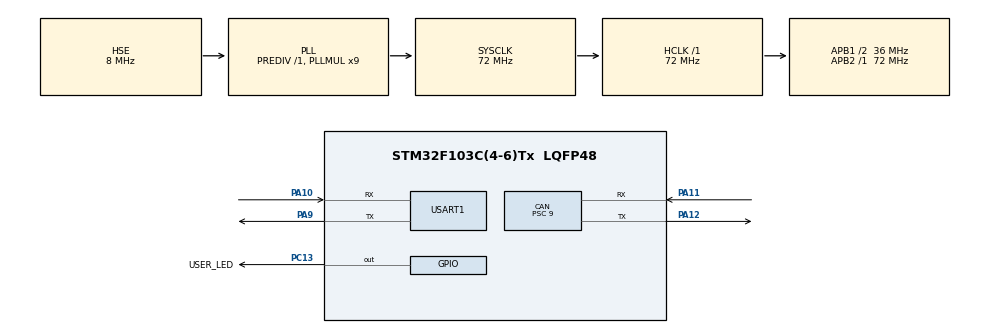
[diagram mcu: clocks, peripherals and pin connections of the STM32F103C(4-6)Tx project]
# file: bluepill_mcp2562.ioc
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CAN.BS1=CAN_BS1_3TQ
CAN.BS2=CAN_BS2_4TQ
CAN.CalculateBaudRate=500000
CAN.CalculateTimeBit=2000
CAN.CalculateTimeQuantum=250.0
CAN.Mode=CAN_MODE_NORMAL
CAN.NART=ENABLE
CAN.Prescaler=9
Mcu.Family=STM32F1
Mcu.Name=STM32F103C(4-6)Tx
Mcu.Package=LQFP48
NVIC.CAN1_RX1_IRQn=true\:0\:0\:false\:false\:true\:true\:true\:true
NVIC.PriorityGroup=NVIC_PRIORITYGROUP_4
PA10.Mode=Asynchronous
PA10.Signal=USART1_RX
PA11.GPIO_PuPd=GPIO_PULLUP
PA11.Mode=CAN_Activate
PA11.Signal=CAN_RX
PA12.Mode=CAN_Activate
PA12.Signal=CAN_TX
PA9.Mode=Asynchronous
PA9.Signal=USART1_TX
PC13-TAMPER-RTC.GPIO_Label=USER_LED
PC13-TAMPER-RTC.Signal=GPIO_Output
PD0-OSC_IN.Mode=HSE-External-Oscillator
PD0-OSC_IN.Signal=RCC_OSC_IN
PD1-OSC_OUT.Mode=HSE-External-Oscillator
PD1-OSC_OUT.Signal=RCC_OSC_OUT
ProjectManager.HeapSize=0x200
ProjectManager.StackSize=0x400
ProjectManager.TargetToolchain=Makefile
RCC.AHBFreq_Value=72000000
RCC.APB1CLKDivider=RCC_HCLK_DIV2
RCC.APB1Freq_Value=36000000
RCC.APB1TimFreq_Value=72000000
RCC.APB2Freq_Value=72000000
RCC.APB2TimFreq_Value=72000000
RCC.HCLKFreq_Value=72000000
RCC.PLLMUL=RCC_PLL_MUL9
RCC.PLLSourceVirtual=RCC_PLLSOURCE_HSE
RCC.SYSCLKFreq_VALUE=72000000
RCC.SYSCLKSource=RCC_SYSCLKSOURCE_PLLCLK
RCC.USBFreq_Value=72000000
USART1.VirtualMode=VM_ASYNC
VP_SYS_VS_ND.Mode=No_Debug
board=custom

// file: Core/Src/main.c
/* USER CODE BEGIN Header */
/**
  ******************************************************************************
  * @file           : main.c
  * @brief          : Main program body
  ******************************************************************************
  * @attention
  *
  * Copyright (c) 2024 STMicroelectronics.
  * All rights reserved.
  *
  * This software is licensed under terms that can be found in the LICENSE file
  * in the root directory of this software component.
  * If no LICENSE file comes with this software, it is provided AS-IS.
  *
  ******************************************************************************
  */
/* USER CODE END Header */
#include "main.h"

/* USER CODE BEGIN Includes */
#include <stdio.h>
/* USER CODE END Includes */

CAN_HandleTypeDef hcan;

UART_HandleTypeDef huart1;

/* USER CODE BEGIN PV */
CAN_RxHeaderTypeDef rxHeader; //CAN Bus Transmit Header
CAN_TxHeaderTypeDef txHeader; //CAN Bus Receive Header
uint8_t canRX[8] = {0,0,0,0,0,0,0,0};  //CAN Bus Receive Buffer
CAN_FilterTypeDef canfil; //CAN Bus Filter
uint32_t canMailbox; //CAN Bus Mail box variable

/* USER CODE END PV */

void SystemClock_Config(void);
static void MX_GPIO_Init(void);
static void MX_CAN_Init(void);
static void MX_USART1_UART_Init(void);
/* USER CODE BEGIN PFP */
#define PUTCHAR_PROTOTYPE int __io_putchar(int ch)
/* USER CODE END PFP */

/* USER CODE BEGIN 0 */

void send_uart_message(const char *message)
  {
  // Send the string over UART
  HAL_UART_Transmit(&huart1, (uint8_t*)message, strlen(message), HAL_MAX_DELAY);
  }

/* USER CODE END 0 */

int main(void)
{

  /* MCU Configuration--------------------------------------------------------*/

  /* Reset of all peripherals, Initializes the Flash interface and the Systick. */
  HAL_Init();

  /* Configure the system clock */
  SystemClock_Config();

  /* Initialize all configured peripherals */
  MX_GPIO_Init();
  MX_CAN_Init();
  MX_USART1_UART_Init();
  /* USER CODE BEGIN 2 */
  // defining CANBUS RX Filter
  canfil.FilterBank = 0;
  canfil.FilterMode = CAN_FILTERMODE_IDMASK;
  canfil.FilterFIFOAssignment = CAN_RX_FIFO0;
  canfil.FilterIdHigh = 0;
  canfil.FilterIdLow = 0;
  canfil.FilterMaskIdHigh = 0;
  canfil.FilterMaskIdLow = 0;
  canfil.FilterScale = CAN_FILTERSCALE_32BIT;
  canfil.FilterActivation = ENABLE;
  canfil.SlaveStartFilterBank = 14;

  // defining CANBUS tx header
  txHeader.DLC = 8; // Number of bytes to be transmitted max- 8
  txHeader.IDE = CAN_ID_STD;
  txHeader.RTR = CAN_RTR_DATA;
  txHeader.StdId = 0x020;
  txHeader.ExtId = 0x02;
  txHeader.TransmitGlobalTime = DISABLE;

  // init CAN
  HAL_CAN_ConfigFilter(&hcan,&canfil);
  HAL_CAN_Start(&hcan);
  HAL_CAN_ActivateNotification(&hcan,CAN_IT_RX_FIFO0_MSG_PENDING);

  /* USER CODE END 2 */

  /* Infinite loop */
  while (1)
  {

    /* USER CODE BEGIN 3 */
    // Edit csend[] to edit the values being sent
    // edit/store multiple txHeaders to handle multiple IDs (different IDs for different output data structures)
	  uint8_t csend[] = {0x01,0x02,0x03,0x04,0x05,0x06,0x07,0x08};
    if (HAL_CAN_AddTxMessage(&hcan,&txHeader,csend,&canMailbox) == HAL_ERROR)
    {
      printf("Write to CANBUS FAILED...\r\n");
    }
    else
    {
      printf("Wrote message to CANBUS...\r\n");
    }
    if(HAL_CAN_IsTxMessagePending(&hcan, &canMailbox) != 0){
      printf("Full mailbox\r\n");
    }
    // if (HAL_CAN_GetRxMessage(&hcan, CAN_RX_FIFO0, &rxHeader, canRX) == HAL_OK) {
    //   printf("received message\r");
    //   printf("Message length is %ld byte(s)\r\n", rxHeader.DLC);
    //   for (uint8_t i = 0; i < 8; i++) {
    //     printf("Byte %d: 0x%02X\r\n", i, canRX[i]);
    // }
    // }

    HAL_GPIO_TogglePin(USER_LED_GPIO_Port, USER_LED_Pin);
	  HAL_Delay(1000);
  }
  /* USER CODE END 3 */
}

void SystemClock_Config(void)
{
  RCC_OscInitTypeDef RCC_OscInitStruct = {0};
  RCC_ClkInitTypeDef RCC_ClkInitStruct = {0};

  /** Initializes the RCC Oscillators according to the specified parameters
  * in the RCC_OscInitTypeDef structure.
  */
  RCC_OscInitStruct.OscillatorType = RCC_OSCILLATORTYPE_HSE;
  RCC_OscInitStruct.HSEState = RCC_HSE_ON;
  RCC_OscInitStruct.HSEPredivValue = RCC_HSE_PREDIV_DIV1;
  RCC_OscInitStruct.HSIState = RCC_HSI_ON;
  RCC_OscInitStruct.PLL.PLLState = RCC_PLL_ON;
  RCC_OscInitStruct.PLL.PLLSource = RCC_PLLSOURCE_HSE;
  RCC_OscInitStruct.PLL.PLLMUL = RCC_PLL_MUL9;
  if (HAL_RCC_OscConfig(&RCC_OscInitStruct) != HAL_OK)
  {
    Error_Handler();
  }

  /** Initializes the CPU, AHB and APB buses clocks
  */
  RCC_ClkInitStruct.ClockType = RCC_CLOCKTYPE_HCLK|RCC_CLOCKTYPE_SYSCLK
                              |RCC_CLOCKTYPE_PCLK1|RCC_CLOCKTYPE_PCLK2;
  RCC_ClkInitStruct.SYSCLKSource = RCC_SYSCLKSOURCE_PLLCLK;
  RCC_ClkInitStruct.AHBCLKDivider = RCC_SYSCLK_DIV1;
  RCC_ClkInitStruct.APB1CLKDivider = RCC_HCLK_DIV2;
  RCC_ClkInitStruct.APB2CLKDivider = RCC_HCLK_DIV1;

  if (HAL_RCC_ClockConfig(&RCC_ClkInitStruct, FLASH_LATENCY_2) != HAL_OK)
  {
    Error_Handler();
  }
}

static void MX_CAN_Init(void)
{

  hcan.Instance = CAN1;
  hcan.Init.Prescaler = 9;
  hcan.Init.Mode = CAN_MODE_NORMAL;
  hcan.Init.SyncJumpWidth = CAN_SJW_1TQ;
  hcan.Init.TimeSeg1 = CAN_BS1_3TQ;
  hcan.Init.TimeSeg2 = CAN_BS2_4TQ;
  hcan.Init.TimeTriggeredMode = DISABLE;
  hcan.Init.AutoBusOff = DISABLE;
  hcan.Init.AutoWakeUp = DISABLE;
  hcan.Init.AutoRetransmission = ENABLE;
  hcan.Init.ReceiveFifoLocked = DISABLE;
  hcan.Init.TransmitFifoPriority = DISABLE;
  if (HAL_CAN_Init(&hcan) != HAL_OK)
  {
    Error_Handler();
  }

}

static void MX_USART1_UART_Init(void)
{

  huart1.Instance = USART1;
  huart1.Init.BaudRate = 115200;
  huart1.Init.WordLength = UART_WORDLENGTH_8B;
  huart1.Init.StopBits = UART_STOPBITS_1;
  huart1.Init.Parity = UART_PARITY_NONE;
  huart1.Init.Mode = UART_MODE_TX_RX;
  huart1.Init.HwFlowCtl = UART_HWCONTROL_NONE;
  huart1.Init.OverSampling = UART_OVERSAMPLING_16;
  if (HAL_UART_Init(&huart1) != HAL_OK)
  {
    Error_Handler();
  }

}

static void MX_GPIO_Init(void)
{
  GPIO_InitTypeDef GPIO_InitStruct = {0};

  /* GPIO Ports Clock Enable */
  __HAL_RCC_GPIOC_CLK_ENABLE();
  __HAL_RCC_GPIOD_CLK_ENABLE();
  __HAL_RCC_GPIOA_CLK_ENABLE();

  /*Configure GPIO pin Output Level */
  HAL_GPIO_WritePin(USER_LED_GPIO_Port, USER_LED_Pin, GPIO_PIN_RESET);

  /*Configure GPIO pin : USER_LED_Pin */
  GPIO_InitStruct.Pin = USER_LED_Pin;
  GPIO_InitStruct.Mode = GPIO_MODE_OUTPUT_PP;
  GPIO_InitStruct.Pull = GPIO_NOPULL;
  GPIO_InitStruct.Speed = GPIO_SPEED_FREQ_LOW;
  HAL_GPIO_Init(USER_LED_GPIO_Port, &GPIO_InitStruct);

}

/* USER CODE BEGIN 4 */
/**
  * @brief  Reads CANBUS message from FIFO buffer
  * @author Peter Woolsey
  * @retval None
  */
void HAL_CAN_RxFifo0MsgPendingCallback(CAN_HandleTypeDef *hcan1)
{
  //printf("Recieved CANBUS message...\r\n");
	if (HAL_CAN_GetRxMessage(hcan1, CAN_RX_FIFO0, &rxHeader, canRX) != HAL_OK)
  {
    //printf("CAN Message Read Failed. HAL ERROR... \r\n");
  }
  else
  {

    // Get header info...
    if (rxHeader.IDE == CAN_ID_STD)
    {
      //printf("Message has standard ID type...\r\n");
      //printf("Message ID:\t%#lx\r\n",rxHeader.StdId);

    }
    else if (rxHeader.IDE == CAN_ID_EXT)
    {
      //printf("Message has extended ID type...\r\n");
      //printf("Message ID:\t%#lx\r\n",rxHeader.ExtId);
    }
    else
    {
      //printf("ERROR: Unknown IDE type\r\n");
      return;
    }

    // Get data...
    // If len(data) < 8 (less than 64 bytes) does the data fill from the front or the back of the array?
    //printf("Message length is %ld byte(s)", rxHeader.DLC);
    for (uint8_t i = 0; i < 8; i++) {
        //printf("Byte %d: 0x%02X\r\n", i, canRX[i]);
    }

  }

}
PUTCHAR_PROTOTYPE
{
  /* Place your implementation of fputc here */
  /* e.g. write a character to the USART1 and Loop until the end of transmission */
  HAL_UART_Transmit(&huart1, (uint8_t *)&ch, 1, 0xFFFF);

  return ch;
}

/* USER CODE END 4 */

void Error_Handler(void)
{
  __disable_irq();
  while (1)
  {
  }
}
